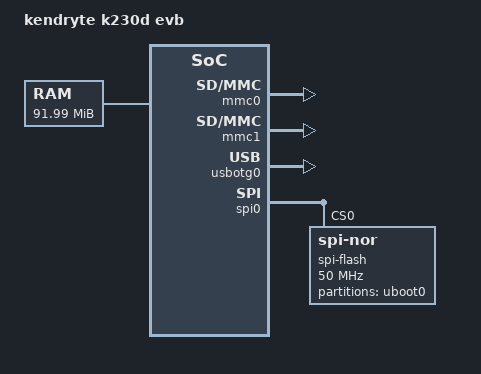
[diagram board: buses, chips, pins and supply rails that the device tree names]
/* Copyright (c) 2023, Canaan Bright Sight Co., Ltd
 *
 * Redistribution and use in source and binary forms, with or without
 * modification, are permitted provided that the following conditions are met:
 * 1. Redistributions of source code must retain the above copyright
 * notice, this list of conditions and the following disclaimer.
 * 2. Redistributions in binary form must reproduce the above copyright
 * notice, this list of conditions and the following disclaimer in the
 * documentation and/or other materials provided with the distribution.
 *
 * THIS SOFTWARE IS PROVIDED BY THE COPYRIGHT HOLDERS AND
 * CONTRIBUTORS "AS IS" AND ANY EXPRESS OR IMPLIED WARRANTIES,
 * INCLUDING, BUT NOT LIMITED TO, THE IMPLIED WARRANTIES OF
 * MERCHANTABILITY AND FITNESS FOR A PARTICULAR PURPOSE ARE
 * DISCLAIMED. IN NO EVENT SHALL THE COPYRIGHT HOLDER OR
 * CONTRIBUTORS BE LIABLE FOR ANY DIRECT, INDIRECT, INCIDENTAL,
 * SPECIAL, EXEMPLARY, OR CONSEQUENTIAL DAMAGES (INCLUDING,
 * BUT NOT LIMITED TO, PROCUREMENT OF SUBSTITUTE GOODS OR
 * SERVICES; LOSS OF USE, DATA, OR PROFITS; OR BUSINESS
 * INTERRUPTION) HOWEVER CAUSED AND ON ANY THEORY OF LIABILITY,
 * WHETHER IN CONTRACT, STRICT LIABILITY, OR TORT (INCLUDING
 * NEGLIGENCE OR OTHERWISE) ARISING IN ANY WAY OUT OF THE USE
 * OF THIS SOFTWARE, EVEN IF ADVISED OF THE POSSIBILITY OF SUCH DAMAGE.
 */
/dts-v1/;
#include <dt-bindings/pinctrl/k230_evb.h>
#define BANK_VOLTAGE_IO0_IO1	 K230_MSC_1V8  // FIXED
#define BANK_VOLTAGE_IO2_IO13	 K230_MSC_1V8  //jtag,
#define BANK_VOLTAGE_IO14_IO25	 K230_MSC_1V8  //qspi0,mipi_dsi
#define BANK_VOLTAGE_IO26_IO37	 K230_MSC_3V3  //有疑问可变,sd2, 根据gpio24来配置,实际测量是 1.8V，无法调节电压,固定成3.3v
#define BANK_VOLTAGE_IO38_IO49	 K230_MSC_1V8 //gpio,uart4,iic1-3,
#define BANK_VOLTAGE_IO50_IO61	 K230_MSC_1V8  //
#define BANK_VOLTAGE_IO62_IO63	 K230_MSC_1V8 //clk
#include "k230d.dtsi"

/ {
	model = "kendryte k230d evb";
	compatible = "kendryte,k230d_evb";

	memory@0 {
		device_type = "memory";
		reg = <
				0x0 0x1600000 0x0 0x47ff000  /*MEM_LINUX_SYS*/
				0x0 0x200000 0x0 0x13ff000  /*MEM_RTT_SYS*/
			  >;
	};
};

&mmc0 {
	status = "okay";
};

&mmc1 {
	status = "okay";
};

&usbotg0 {
	status = "okay";
};

&spi0 {
	status = "okay";
	rx-sample-delay-ns = <5>;
	spi-flash@0 {
		compatible = "jedec,spi-nor";
		reg = <0>;
		spi-max-frequency = <50000000>;
		spi-tx-bus-width = <8>;
		spi-rx-bus-width = <8>;
		status = "okay";
		u-boot,dm-pre-reloc;
		partitions {
			compatible = "fixed-partitions";
			#address-cells = <1>;
			#size-cells = <1>;
			uboot@0 {
				label = "uboot0";
				reg = <0x00000000 0x0080000>;
			};
		};
	};
};


&iomux {
	pinctrl-names = "default";
	pinctrl-0 = <&drop_pins &pins>;

//	Please pay attention to the bank voltage! will damage the chip.
	pins: iomux_pins {
		u-boot,dm-pre-reloc;
		pinctrl-single,pins = <

		// BOOT
		(IO0 ) ( 1<<SEL | 0<<SL | BANK_VOLTAGE_IO0_IO1 <<MSC | 1<<IE | 0<<OE | 1<<PU | 0<<PD | 2<<DS | 0<<ST )
		(IO1 ) ( 1<<SEL | 0<<SL | BANK_VOLTAGE_IO0_IO1 <<MSC | 1<<IE | 0<<OE | 1<<PU | 0<<PD | 2<<DS | 0<<ST )

		// JTAG
		(IO2 ) ( 1<<SEL | 0<<SL | BANK_VOLTAGE_IO2_IO13 <<MSC | 1<<IE | 0<<OE | 0<<PU | 1<<PD | 4<<DS | 1<<ST )
		(IO3 ) ( 1<<SEL | 0<<SL | BANK_VOLTAGE_IO2_IO13 <<MSC | 1<<IE | 0<<OE | 0<<PU | 0<<PD | 4<<DS | 0<<ST )
		(IO4 ) ( 1<<SEL | 0<<SL | BANK_VOLTAGE_IO2_IO13 <<MSC | 0<<IE | 1<<OE | 0<<PU | 0<<PD | 4<<DS | 0<<ST )
		(IO5 ) ( 1<<SEL | 0<<SL | BANK_VOLTAGE_IO2_IO13 <<MSC | 1<<IE | 0<<OE | 0<<PU | 0<<PD | 4<<DS | 0<<ST )
		(IO6 ) ( 1<<SEL | 0<<SL | BANK_VOLTAGE_IO2_IO13 <<MSC | 1<<IE | 0<<OE | 1<<PU | 0<<PD | 4<<DS | 0<<ST )

		// IIC4
		(IO7 ) ( 2<<SEL | 0<<SL | BANK_VOLTAGE_IO2_IO13 <<MSC | 1<<IE | 1<<OE | 1<<PU | 0<<PD | 7<<DS | 1<<ST ) //GPIO7/PWM2/IIC4_SCL/TEST_PIN3/DI0
		(IO8 ) ( 2<<SEL | 0<<SL | BANK_VOLTAGE_IO2_IO13 <<MSC | 1<<IE | 1<<OE | 1<<PU | 0<<PD | 7<<DS | 1<<ST ) //GPIO8/PWM3/IIC4_SDA/TEST_PIN4/DI1
		// 3D_CTRL
		(IO10) ( 1<<SEL | 0<<SL | BANK_VOLTAGE_IO2_IO13 <<MSC | 1<<IE | 0<<OE | 0<<PU | 0<<PD | 8<<DS | 0<<ST )
		(IO11) ( 1<<SEL | 0<<SL | BANK_VOLTAGE_IO2_IO13 <<MSC | 0<<IE | 1<<OE | 0<<PU | 0<<PD | 8<<DS | 0<<ST )
		(IO12) ( 1<<SEL | 0<<SL | BANK_VOLTAGE_IO2_IO13 <<MSC | 0<<IE | 1<<OE | 0<<PU | 0<<PD | 8<<DS | 0<<ST )

		// M_CLK
		(IO13) ( 1<<SEL | 0<<SL | BANK_VOLTAGE_IO2_IO13 <<MSC | 0<<IE | 1<<OE | 0<<PU | 1<<PD | 4<<DS | 1<<ST )

		// SPI0
		(IO14) ( 1<<SEL | 0<<SL | BANK_VOLTAGE_IO14_IO25<<MSC | 0<<IE | 1<<OE | 1<<PU | 0<<PD | 15<<DS | 1<<ST ) //GPIO14/OSPI_CS/TEST_PIN5/QSPI0_CS0/DO3
		(IO15) ( 1<<SEL | 0<<SL | BANK_VOLTAGE_IO14_IO25<<MSC | 0<<IE | 1<<OE | 0<<PU | 0<<PD | 15<<DS | 1<<ST )
		(IO16) ( 1<<SEL | 0<<SL | BANK_VOLTAGE_IO14_IO25<<MSC | 1<<IE | 1<<OE | 0<<PU | 0<<PD | 15<<DS | 1<<ST )
		(IO17) ( 1<<SEL | 0<<SL | BANK_VOLTAGE_IO14_IO25<<MSC | 1<<IE | 1<<OE | 0<<PU | 0<<PD | 15<<DS | 1<<ST )
		(IO18) ( 1<<SEL | 0<<SL | BANK_VOLTAGE_IO14_IO25<<MSC | 1<<IE | 1<<OE | 0<<PU | 0<<PD | 15<<DS | 1<<ST )
		(IO19) ( 1<<SEL | 0<<SL | BANK_VOLTAGE_IO14_IO25<<MSC | 1<<IE | 1<<OE | 0<<PU | 0<<PD | 15<<DS | 1<<ST )
		(IO20) ( 0<<SEL | 0<<SL | BANK_VOLTAGE_IO14_IO25<<MSC | 0<<IE | 1<<OE | 0<<PU | 0<<PD | 15<<DS | 1<<ST )
		(IO21) ( 0<<SEL | 0<<SL | BANK_VOLTAGE_IO14_IO25<<MSC | 0<<IE | 1<<OE | 0<<PU | 0<<PD | 15<<DS | 1<<ST )
		(IO22) ( 0<<SEL | 0<<SL | BANK_VOLTAGE_IO14_IO25<<MSC | 1<<IE | 1<<OE | 0<<PU | 0<<PD | 15<<DS | 1<<ST )
		(IO23) ( 0<<SEL | 0<<SL | BANK_VOLTAGE_IO14_IO25<<MSC | 1<<IE | 1<<OE | 0<<PU | 0<<PD | 15<<DS | 1<<ST )
		(IO24) ( 0<<SEL | 0<<SL | BANK_VOLTAGE_IO14_IO25<<MSC | 0<<IE | 1<<OE | 0<<PU | 1<<PD | 7<<DS | 1<<ST )  //GPIO24/OSPI_DQS/QSPI1_D2/PULSE_CNTR4/TEST_PIN9---gpio ctrl voltage;  0---1.8; 1---3.3 default?
		(IO25) ( 0<<SEL | 0<<SL | BANK_VOLTAGE_IO14_IO25<<MSC | 0<<IE | 1<<OE | 0<<PU | 0<<PD | 7<<DS | 1<<ST )

		// PDMCLK
		(IO26) ( 1<<SEL | 0<<SL | BANK_VOLTAGE_IO26_IO37<<MSC | 0<<IE | 1<<OE | 0<<PU | 0<<PD | 7<<DS | 1<<ST )//clk
		(IO27) ( 1<<SEL | 0<<SL | BANK_VOLTAGE_IO26_IO37<<MSC | 1<<IE | 1<<OE | 0<<PU | 0<<PD | 7<<DS | 1<<ST ) //cmd
		(IO28) ( 1<<SEL | 0<<SL | BANK_VOLTAGE_IO26_IO37<<MSC | 1<<IE | 1<<OE | 0<<PU | 0<<PD | 7<<DS | 1<<ST ) //d0
		(IO29) ( 1<<SEL | 0<<SL | BANK_VOLTAGE_IO26_IO37<<MSC | 1<<IE | 1<<OE | 0<<PU | 0<<PD | 7<<DS | 1<<ST )
		(IO30) ( 1<<SEL | 0<<SL | BANK_VOLTAGE_IO26_IO37<<MSC | 1<<IE | 1<<OE | 0<<PU | 0<<PD | 7<<DS | 1<<ST )
		(IO31) ( 1<<SEL | 0<<SL | BANK_VOLTAGE_IO26_IO37<<MSC | 1<<IE | 1<<OE | 0<<PU | 0<<PD | 7<<DS | 1<<ST ) //d3

		// IIS
		(IO32) ( 2<<SEL | 0<<SL | BANK_VOLTAGE_IO26_IO37<<MSC | 0<<IE | 1<<OE | 0<<PU | 0<<PD | 4<<DS | 0<<ST )
		(IO33) ( 2<<SEL | 0<<SL | BANK_VOLTAGE_IO26_IO37<<MSC | 0<<IE | 1<<OE | 0<<PU | 0<<PD | 4<<DS | 0<<ST )
		(IO34) ( 2<<SEL | 0<<SL | BANK_VOLTAGE_IO26_IO37<<MSC | 1<<IE | 0<<OE | 0<<PU | 0<<PD | 4<<DS | 0<<ST )
		(IO35) ( 2<<SEL | 0<<SL | BANK_VOLTAGE_IO26_IO37<<MSC | 0<<IE | 1<<OE | 0<<PU | 0<<PD | 4<<DS | 0<<ST )
		(IO36) ( 2<<SEL | 0<<SL | BANK_VOLTAGE_IO26_IO37<<MSC | 1<<IE | 0<<OE | 0<<PU | 0<<PD | 7<<DS | 1<<ST )
		// imx335 gpio
		(IO37) ( 0<<SEL | 0<<SL | BANK_VOLTAGE_IO26_IO37<<MSC | 1<<IE | 1<<OE | 0<<PU | 0<<PD | 7<<DS | 1<<ST )

		// UART0
		(IO38) ( 1<<SEL | 0<<SL | BANK_VOLTAGE_IO38_IO49<<MSC | 0<<IE | 1<<OE | 0<<PU | 0<<PD | 7<<DS | 1<<ST )
		(IO39) ( 1<<SEL | 0<<SL | BANK_VOLTAGE_IO38_IO49<<MSC | 1<<IE | 0<<OE | 0<<PU | 0<<PD | 7<<DS | 1<<ST ) //GPIO39/UART0_RXD/TEST_PIN9/QSPI1_CLK/VSYNC0

		// IIC1
		(IO40) ( 2<<SEL | 0<<SL | BANK_VOLTAGE_IO38_IO49<<MSC | 1<<IE | 1<<OE | 1<<PU | 0<<PD | 7<<DS | 1<<ST )
		(IO41) ( 2<<SEL | 0<<SL | BANK_VOLTAGE_IO38_IO49<<MSC | 1<<IE | 1<<OE | 1<<PU | 0<<PD | 7<<DS | 1<<ST )

		// IIC3
		(IO44) ( 2<<SEL | 0<<SL | BANK_VOLTAGE_IO38_IO49<<MSC | 1<<IE | 1<<OE | 1<<PU | 0<<PD | 7<<DS | 1<<ST )
		(IO45) ( 2<<SEL | 0<<SL | BANK_VOLTAGE_IO38_IO49<<MSC | 1<<IE | 1<<OE | 1<<PU | 0<<PD | 7<<DS | 1<<ST )

		(IO48) ( 1<<SEL | 0<<SL | BANK_VOLTAGE_IO38_IO49<<MSC | 0<<IE | 1<<OE | 0<<PU | 0<<PD | 7<<DS | 1<<ST )
		(IO49) ( 1<<SEL | 0<<SL | BANK_VOLTAGE_IO38_IO49<<MSC | 1<<IE | 0<<OE | 0<<PU | 0<<PD | 7<<DS | 1<<ST )

		(IO59) ( 0<<SEL | 0<<SL | BANK_VOLTAGE_IO50_IO61<<MSC | 1<<IE | 1<<OE | 1<<PU | 0<<PD | 7<<DS | 1<<ST )

		(IO60) ( 2<<SEL | 0<<SL | BANK_VOLTAGE_IO50_IO61<<MSC | 1<<IE | 1<<OE | 1<<PU | 0<<PD | 7<<DS | 1<<ST )
		(IO61) ( 2<<SEL | 0<<SL | BANK_VOLTAGE_IO50_IO61<<MSC | 1<<IE | 1<<OE | 1<<PU | 0<<PD | 7<<DS | 1<<ST )

		// DL_M_CLK
		(IO62) ( 1<<SEL | 0<<SL | BANK_VOLTAGE_IO62_IO63<<MSC | 0<<IE | 1<<OE | 0<<PU | 1<<PD | 4<<DS | 1<<ST )
		(IO63) ( 1<<SEL | 0<<SL | BANK_VOLTAGE_IO62_IO63<<MSC | 0<<IE | 1<<OE | 0<<PU | 1<<PD | 4<<DS | 1<<ST )
		>;
	};
};
